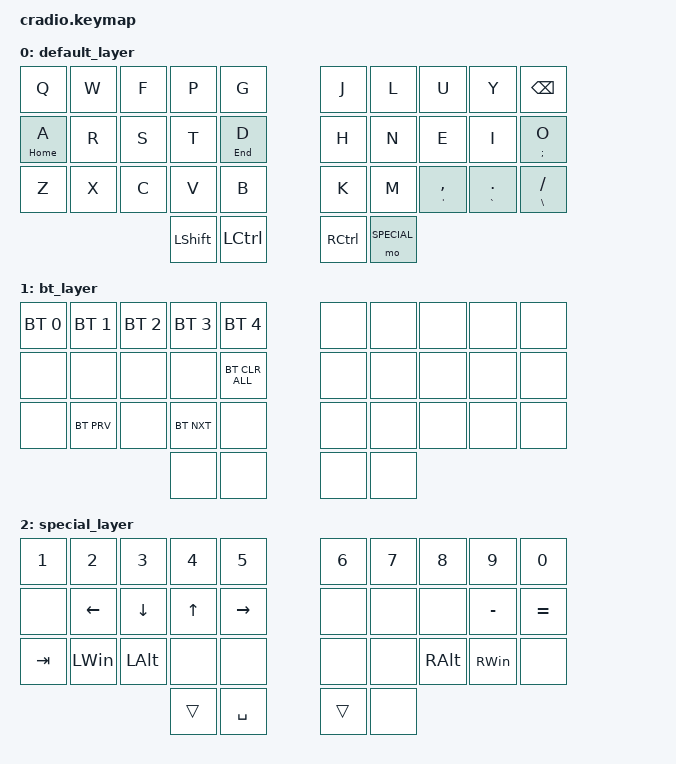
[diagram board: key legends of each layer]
/*
 * Copyright (c) 2020 The ZMK Contributors
 *
 * SPDX-License-Identifier: MIT
 */

#include <behaviors.dtsi>
#include <dt-bindings/zmk/keys.h>
#include <dt-bindings/zmk/bt.h>

#define DEFAULT 0
#define BT 1
#define SPECIAL 2

&mt {
      flavor = "tap-preferred";
   // tapping_term_ms = <200>;
};

/ {
    
 combos {
        compatible = "zmk,combos";
        combo_eScape {
            timeout-ms = <20>;
            key-positions = <0 1>;
            bindings = <&kp ESC>;
        };
        combo_lEft_BRACKET {
            timeout-ms = <20>;
            key-positions = <10 11>;
            bindings = <&kp LEFT_BRACKET>;
        };
        combo_lEft_PARENTHESIS {
            timeout-ms = <20>;
            key-positions = <11 12>;
            bindings = <&kp LEFT_PARENTHESIS>;
        };
        combo_lEft_BRACE {
            timeout-ms = <20>;
            key-positions = <12 13>;
            bindings = <&kp LEFT_BRACE>;
        };
        combo_rIght_BRACKET {
            timeout-ms = <20>;
            key-positions = <18 19>;
            bindings = <&kp RIGHT_BRACKET>;
        };
        combo_rIght_PARENTHESIS {
            timeout-ms = <20>;
            key-positions = <17 18>;
            bindings = <&kp RIGHT_PARENTHESIS>;
        };
        combo_rIght_BRACE {
            timeout-ms = <20>;
            key-positions = <16 17>;
            bindings = <&kp RIGHT_BRACE>;
        };
        combo_dElete {
            timeout-ms = <20>;
            key-positions = <12 17>;
            bindings = <&kp DELETE>;
        };
        combo_eNter {
            timeout-ms = <20>;
            key-positions = <13 16>;
            bindings = <&kp ENTER>;
        };
        combo_DEFAULTLAYER {
            timeout-ms = <20>;
            key-positions = <4 5>;
            bindings = <&to DEFAULT>;
        };
        combo_BTLAYER {
            timeout-ms = <20>;
            key-positions = <14 15>;
            bindings = <&to BT>;
        };
        combo_SPECIALLAYER {
            timeout-ms = <20>;
            key-positions = <24 25>;
            bindings = <&to SPECIAL>;
        };
        combo_Lock {
            timeout-ms = <20>;
            key-positions = <23 26>;
            bindings = <&Lock>;
        };
        combo_Screenshot {
            timeout-ms = <20>;
            key-positions = <22 27>;
            bindings = <&Screenshot>;
        };
    };
    
    macros {
    ZMK_MACRO(Screenshot,
        wait-ms = <0>;
        tap-ms = <0>;
        bindings 
        = <&macro_press &kp LEFT_WIN>
        , <&macro_press &kp LSHFT>
        , <&macro_tap &kp S>
        , <&macro_release &kp LEFT_WIN>
        , <&macro_release &kp LSHFT>
        ;
    )
    ZMK_MACRO(Lock,
        wait-ms = <0>;
        tap-ms = <0>;
        bindings 
        = <&macro_press &kp LEFT_WIN>
        , <&macro_tap &kp L>
        , <&macro_release &kp LEFT_WIN>
        ;
    )
    };

        //      ========================================= DEFAULT_LAYER =========================================
        //      |   0   |       |       |       |   4   |               |   5   |       |       |       |   9  |
        //      |   10  |       |       |       |   14  |               |   15  |       |       |       |   19 |
        //      |   20  |       |       |       |   24  |               |   25  |       |       |       |   29 |
        //                              |   30  |   31  |               |   32  |   33  |

        keymap {
                compatible = "zmk,keymap";
                default_layer { 
		            bindings = <
        //      ========================================= DEFAULT_LAYER =========================================
        //      |  Q    |  W    |  F    |  P    |  G    |               |  J    |  L    |  U    |  Y    |  <-  |
                &kp Q   &kp W   &kp F   &kp P   &kp G 			        &kp J   &kp L   &kp U   &kp Y   &kp BACKSPACE
        //      | A HOME|   R   |   S   |   T   | D END |               |  H ⬅ |  N ⬇  |  E ⬆  |  I  ⮕|  O ;  |
                &mt HOME A &kp R &kp S &kp T &mt END D 			        &kp H   &kp N   &kp E   &kp I   &mt SEMICOLON O
        //      | Z TAB | X ALT |   C   |   V   |   B   |               |   K   |   M  |  , '  |  . `  |  / | |
                &kp Z   &kp X   &kp C   &kp V   &kp B				    &kp K   &kp M   &mt SINGLE_QUOTE COMMA  &mt GRAVE DOT &mt BACKSLASH SLASH
        //                              | lsft  | SPACE |               | RSFT | lctrl |
	                                    &kp LSHIFT &kp LCTRL 			&kp RCTRL &mo SPECIAL
        >;                                                                      
		}; 
		
		bt_layer {
		bindings = <
        //      ========================================= BLUETOOTH_LAYER =========================================
        //      |       |       |       |       |       |               |       |       |       |       |      |
		        &bt BT_SEL 0 &bt BT_SEL 1 &bt BT_SEL 2  &bt BT_SEL 3 &bt BT_SEL 4   	&none &none &none &none &none 
        //      |       |       |       |       |       |               |       |       |       |       |      |
		        &none &none &none &none &bt BT_CLR_ALL                  &none &none &none &none &none
        //      |       |       |       |       |       |               |       |       |       |       |      |
                &none &bt BT_PRV &none &bt BT_NXT &none                 &none &none &none &none &none
        //                              |       |       |               |       |       |
				                        &none &none                     &none &none 
		>;
		};	
		
		special_layer {
		bindings = <
        //      ========================================= SPECIAL_LAYER =========================================
        //      |       |       |       |       |       |               |       |       |       |       |      |
		        &kp N1  &kp N2  &kp N3  &kp N4  &kp N5 		            &kp N6  &kp N7  &kp N8  &kp N9  &kp N0
        //      |       |       |       |       |       |               |       |       |       |       |      |
		        &none   &kp LEFT &kp DOWN &kp UP &kp RIGHT  				&none &none  &none &kp MINUS &kp EQUAL 
        //      |       |       |       |       |       |               |       |       |       |       |      |
		        &kp TAB  &kp LWIN &kp LALT &none &none                  &none   &none   &kp RALT &kp RWIN &none  
        //                              |       |        |              |       |       |
                    					&trans &kp SPACE                   &trans &none 
		>;
		};	
        
	};
};
